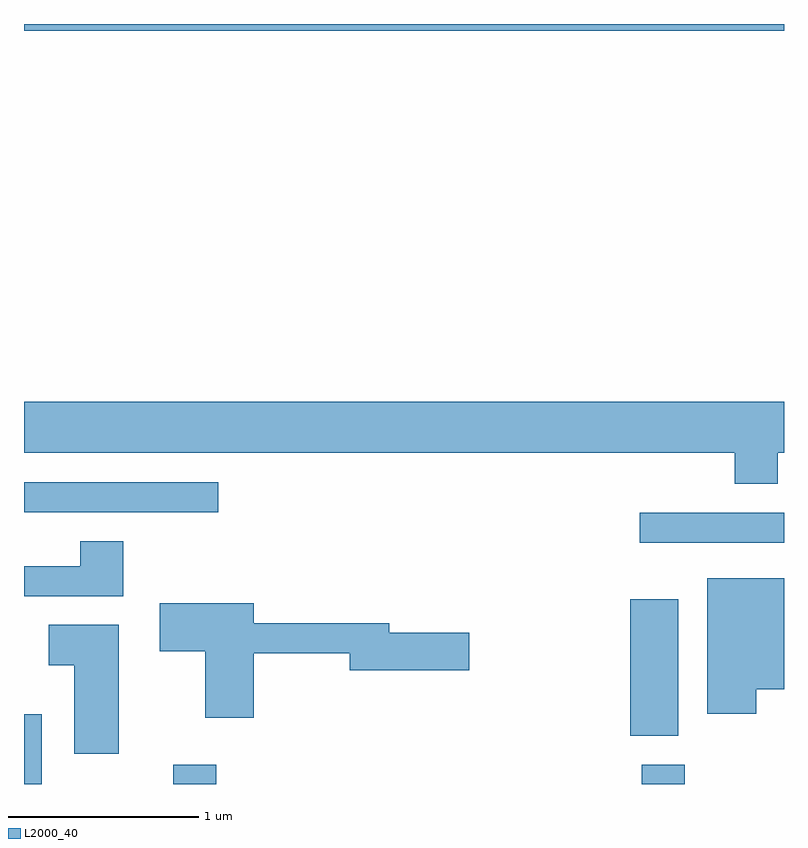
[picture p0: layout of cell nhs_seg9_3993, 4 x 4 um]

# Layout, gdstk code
import gdstk
lib = gdstk.Library(unit=1e-6, precision=1e-09)
def R(c, l, rs):  # rectangles x0, y0, x1, y1
    for r in rs: c.add(gdstk.rectangle(r[:2], r[2:], *l))
def P(c, l, *ps):  # polygons
    for p in ps: c.add(gdstk.Polygon(p, *l))
L2000_40 = (2000, 40)

nhs_seg9_3993 = lib.new_cell('nhs_seg9_3993')
R(nhs_seg9_3993, L2000_40, [(301.611,2074.432,301.704,2074.799), (302.396,2074.432,302.624,2074.534), (304.861,2074.432,305.089,2074.534), (304.801,2074.686,305.054,2075.404), (304.853,2075.701,305.611,2075.859), (301.611,2075.861,302.633,2076.019), (301.611,2078.396,305.611,2078.432)])
P(nhs_seg9_3993, L2000_40, [(305.579,2076.176),(305.611,2076.176),(305.611,2076.444),(301.611,2076.444),(301.611,2076.176),(305.351,2076.176),(305.351,2076.011),(305.579,2076.011)],
  [(302.134,2075.709),(301.906,2075.709),(301.906,2075.579),(301.611,2075.579),(301.611,2075.421),(302.134,2075.421)],
  [(305.464,2074.931),(305.611,2074.931),(305.611,2075.514),(305.206,2075.514),(305.206,2074.801),(305.464,2074.801)],
  [(302.819,2075.121),(303.326,2075.121),(303.326,2075.031),(303.954,2075.031),(303.954,2075.229),(303.534,2075.229),(303.534,2075.279),(302.819,2075.279),(302.819,2075.384),(302.326,2075.384),(302.326,2075.131),(302.566,2075.131),(302.566,2074.781),(302.819,2074.781)],
  [(302.109,2075.269),(301.741,2075.269),(301.741,2075.056),(301.876,2075.056),(301.876,2074.591),(302.109,2074.591)])

lib.write_gds('nhs_seg9_3993.gds')
